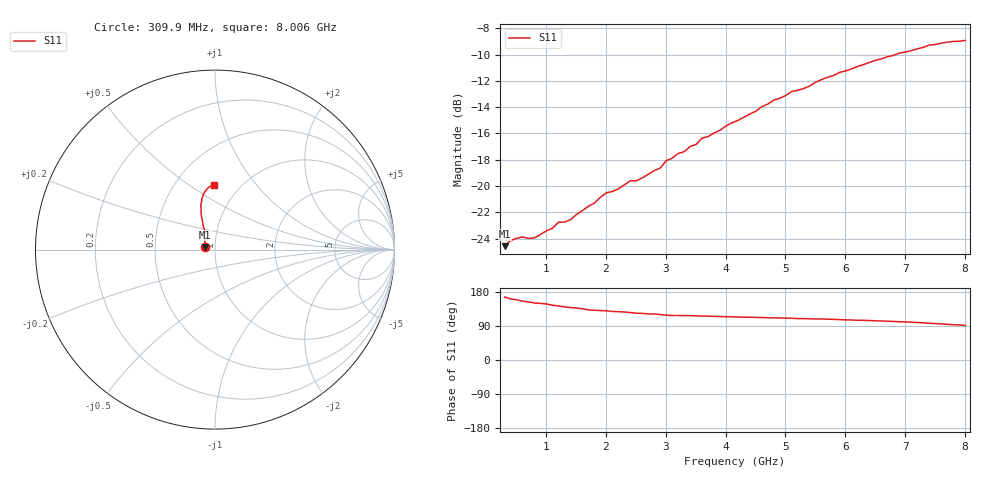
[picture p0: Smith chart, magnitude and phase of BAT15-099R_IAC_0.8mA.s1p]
! Infineon Technologies  Discrete & RF Semiconductors
! BAT15-099R
! IAC = 0.8 mA
! One-Port S-Parameters
# Hz  S  MA  R  50
!f  S11
!Hz  Mag  Ang
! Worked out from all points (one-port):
!   78 points, 309.9 MHz to 8.006 GHz, reference 50 ohm
!   lowest |S11| = -24.6 dB at 309.9 MHz (marker M1), VSWR 1.13, Z = 44.6 + j1.27 ohm
!   |S11| at or under -10 dB: start of sweep to 6.834 GHz
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3.0985e8  0.059 166.1
4.098e8  0.06196 161.2
5.0975e8  0.06322 159.2
8.096e8  0.06348 150.5
1.10945e9  0.06905 144.6
1.2094e9  0.07281 142.6
1.30935e9  0.07285 140.4
1.4093e9  0.07442 138.3
1.8091e9  0.08609 131.5
2.009e9  0.09423 129.9
2.2089e9  0.09749 127.5
2.30885e9  0.1009 126.7
2.4088e9  0.1046 125.2
2.50875e9  0.1047 123.4
2.90855e9  0.117 120.0
3.0085e9  0.1248 118.3
3.2084e9  0.133 117.4
3.50825e9  0.144 116.5
3.6082e9  0.1522 115.9
3.70815e9  0.1543 115.7
4.2079e9  0.1777 113.5
4.8076e9  0.2126 111.2
5.10745e9  0.2293 110.0
5.2074e9  0.2314 109.4
6.10695e9  0.2796 105.5
7.10645e9  0.328 99.7
7.4063e9  0.3443 96.9
8.006e9  0.3584 91.1
